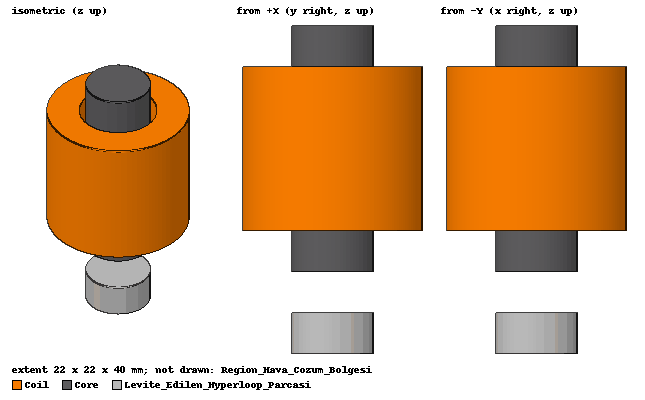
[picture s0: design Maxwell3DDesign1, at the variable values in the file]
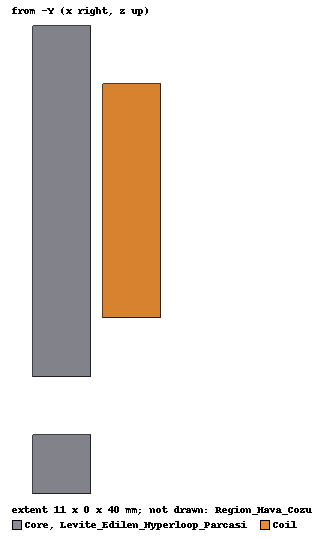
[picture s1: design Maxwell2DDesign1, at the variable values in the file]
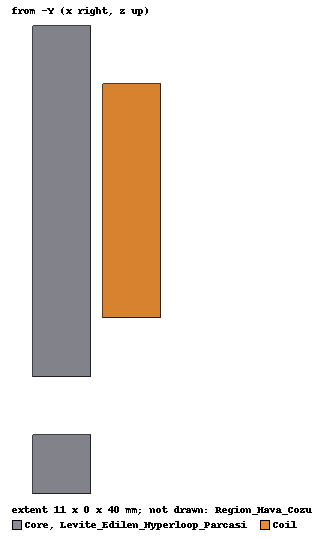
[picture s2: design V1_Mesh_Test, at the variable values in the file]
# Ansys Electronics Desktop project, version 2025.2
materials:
  vacuum: permittivity=1
  steel_1008: permeability{HUnit=A_per_meter BUnit=tesla curve (0, 0) (159.2, 0.2402) (318.3, 0.8654) (477.5, 1.1106) (636.6, 1.2458) (795.8, 1.331) (1591.5, 1.5) (3183.1, 1.6) (4774.6, 1.683) (6366.2, 1.741) (7957.7, 1.78) (15915.5, 1.905) (31831, 2.025) (47746.5, 2.085) (63662, 2.13) (79577.5, 2.165) (159155, 2.28) (318310, 2.485) (397887, 2.5851)} conductivity=2000000
  copper: permeability=0.999991 conductivity=58000000

design Maxwell3DDesign1 (Maxwell 3D, Magnetostatic, model units mm)
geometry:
  Core [steel_1008] = rectangle(corner=(0mm, 0mm, 0mm), z_size=30mm, x_size=5mm)
  Coil [copper] = rectangle(corner=(6mm, 0mm, 5mm), z_size=20mm, x_size=5mm)
  Levite_Edilen_Hyperloop_Parcasi [steel_1008] = rectangle(corner=(0mm, 0mm, -10mm), z_size=5mm, x_size=5mm)
  Region_Hava_Cozum_Bolgesi [vacuum] = region(percentage_offset: +X=100, -X=100, +Y=0, -Y=0, +Z=100, -Z=100)
  [Core, Coil, Levite_Edilen_Hyperloop_Parcasi].sweep_around_axis(axis=Z, angle=360deg)
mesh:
  initial mesh: GlobalCurvilinear{Apply}

design Maxwell2DDesign1 (Maxwell 2D, Magnetostatic, about Z geometry, model units mm)
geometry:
  Core [steel_1008] = rectangle(corner=(0mm, 0mm, 0mm), z_size=30mm, x_size=5mm)
  Coil [copper] = rectangle(corner=(6mm, 0mm, 5mm), z_size=20mm, x_size=5mm)
  Levite_Edilen_Hyperloop_Parcasi [steel_1008] = rectangle(corner=(0mm, 0mm, -10mm), z_size=5mm, x_size=5mm)
  Region_Hava_Cozum_Bolgesi [vacuum] = region(percentage_offset: +X=100, -X=100, +Y=0, -Y=0, +Z=100, -Z=100)
  Polyline4 [non-model] = polyline((0mm, 0mm, 0mm) (0mm, 0mm, -5mm))
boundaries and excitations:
  Sinir_Balloon_AcikAlan: Balloon Edges=Region_Hava_Cozum_Bolgesi.edge(all 4)
  Bobin_Sarim: Coil Objects=Coil Conductor_number=500 Winding=Bobin_500Tur_4.80A PolarityType=Positive
  Bobin_500Tur_4.80A: Winding Group Type=Current IsSolid=false Current=4.8A ParallelBranchesNum=1
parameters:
  Kuvvet_Levite_Edilen_Parca: Force Reference_CS=Global Objects=Levite_Edilen_Hyperloop_Parcasi
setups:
  Setup_Levitasyon: Magnetostatic MaximumPasses=8 MinimumPasses=5 MinimumConvergedPasses=2 PercentRefinement=10 PercentError=5 NonLinearResidual=0.0001
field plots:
  Mag_B1: B over Core, Levite_Edilen_Hyperloop_Parcasi on Setup_Levitasyon : LastAdaptive
  Flux_Lines1: A over Region_Hava_Cozum_Bolgesi on Setup_Levitasyon : LastAdaptive
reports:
  Force Table1: Kuvvet_Levite_Edilen_Parca.Force_z vs X on Setup_Levitasyon : LastAdaptive
  Calculator Expressions Plot1: Mag_B vs Distance on Setup_Levitasyon : LastAdaptive

design V1_Mesh_Test (Maxwell 2D, Magnetostatic, about Z geometry, model units mm)
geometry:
  Core [steel_1008] = rectangle(corner=(0mm, 0mm, 0mm), z_size=30mm, x_size=5mm)
  Coil [copper] = rectangle(corner=(6mm, 0mm, 5mm), z_size=20mm, x_size=5mm)
  Levite_Edilen_Hyperloop_Parcasi [steel_1008] = rectangle(corner=(0mm, 0mm, -10mm), z_size=5mm, x_size=5mm)
  Region_Hava_Cozum_Bolgesi [vacuum] = region(percentage_offset: +X=100, -X=100, +Y=0, -Y=0, +Z=100, -Z=100)
  Polyline4 [non-model] = polyline((0mm, 0mm, 0mm) (0mm, 0mm, -5mm))
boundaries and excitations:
  Sinir_Balloon_AcikAlan: Balloon Edges=Region_Hava_Cozum_Bolgesi.edge(all 4)
  Bobin_Sarim: Coil Objects=Coil Conductor_number=500 Winding=Bobin_500Tur_4.80A PolarityType=Positive
  Bobin_500Tur_4.80A: Winding Group Type=Current IsSolid=false Current=4.8A ParallelBranchesNum=1
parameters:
  Kuvvet_Levite_Edilen_Parca: Force Reference_CS=Global Objects=Levite_Edilen_Hyperloop_Parcasi
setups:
  Setup_Levitasyon: Magnetostatic MaximumPasses=8 MinimumPasses=5 MinimumConvergedPasses=2 PercentRefinement=10 PercentError=5 NonLinearResidual=0.0001
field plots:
  Mag_B1: B over Core, Levite_Edilen_Hyperloop_Parcasi on Setup_Levitasyon : LastAdaptive
  Flux_Lines1: A over Region_Hava_Cozum_Bolgesi on Setup_Levitasyon : LastAdaptive
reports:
  Force Table1: Kuvvet_Levite_Edilen_Parca.Force_z vs X on Setup_Levitasyon : LastAdaptive
  Calculator Expressions Plot1: Mag_B vs Distance on Setup_Levitasyon : LastAdaptive
